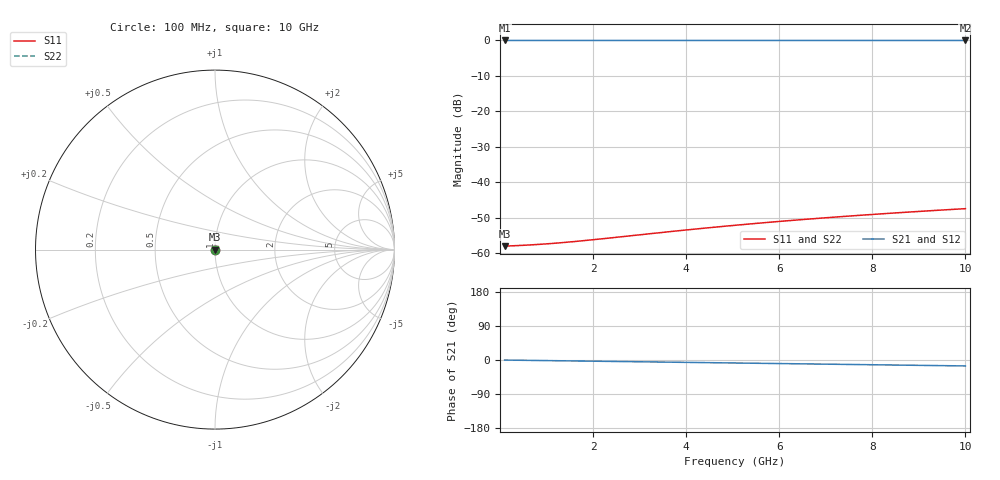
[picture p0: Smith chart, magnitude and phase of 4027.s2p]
# Hz S RI R 50.00
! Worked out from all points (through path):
!   100 points, 100 MHz to 10 GHz, reference 50 ohm
!   highest |S21| = -0.01 dB at 100 MHz (marker M1); lowest = 0.0 dB at 10 GHz (marker M2)
!   group delay of S21, straight-line fit = 4.35 ps
!   lowest |S11| = -58.0 dB at 100 MHz (marker M3), VSWR 1.00, Z = 50.1 + j0.00396 ohm
!   |S11| at or under -10 dB: start of sweep to end of sweep
!   |S22| runs from -58.0 to -47.4 dB; largest |S21 - S12| = 0
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1e8  0.00126 3.95e-05  0.9987 -0.00272  0.9987 -0.00272  0.00126 3.95e-05
6e8  0.00128 0.000236  0.9986 -0.0163  0.9986 -0.0163  0.00128 0.000236
9e8  0.00129 0.000354  0.9984 -0.0245  0.9984 -0.0245  0.00129 0.000354
1.1e9  0.0013 0.000432  0.9982 -0.0299  0.9982 -0.0299  0.0013 0.000432
1.3e9  0.00131 0.00051  0.9981 -0.0354  0.9981 -0.0354  0.00131 0.00051
1.5e9  0.00132 0.000587  0.9978 -0.0408  0.9978 -0.0408  0.00132 0.000587
1.8e9  0.00133 0.000703  0.9975 -0.049  0.9975 -0.049  0.00133 0.000703
2.3e9  0.00135 0.000894  0.9967 -0.0626  0.9967 -0.0626  0.00135 0.000894
3.4e9  0.00143 0.00131  0.9943 -0.0924  0.9943 -0.0924  0.00143 0.00131
3.9e9  0.00147 0.00149  0.993 -0.106  0.993 -0.106  0.00147 0.00149
4.3e9  0.0015 0.00164  0.9917 -0.1169  0.9917 -0.1169  0.0015 0.00164
4.7e9  0.00154 0.00178  0.9904 -0.1277  0.9904 -0.1277  0.00154 0.00178
5.1e9  0.00158 0.00192  0.9889 -0.1385  0.9889 -0.1385  0.00158 0.00192
5.5e9  0.00163 0.00206  0.9873 -0.1493  0.9873 -0.1493  0.00163 0.00206
5.9e9  0.00168 0.0022  0.9856 -0.1601  0.9856 -0.1601  0.00168 0.0022
6.3e9  0.00173 0.00234  0.9838 -0.1709  0.9838 -0.1709  0.00173 0.00234
6.7e9  0.00178 0.00248  0.9818 -0.1817  0.9818 -0.1817  0.00178 0.00248
7.5e9  0.0019 0.00274  0.9776 -0.2032  0.9776 -0.2032  0.0019 0.00274
7.9e9  0.00196 0.00287  0.9753 -0.2139  0.9753 -0.2139  0.00196 0.00287
8.4e9  0.00205 0.00304  0.9723 -0.2273  0.9723 -0.2273  0.00205 0.00304
9.2e9  0.00219 0.00329  0.967 -0.2486  0.967 -0.2486  0.00219 0.00329
1e10  0.00235 0.00354  0.9613 -0.2698  0.9613 -0.2698  0.00235 0.00354
